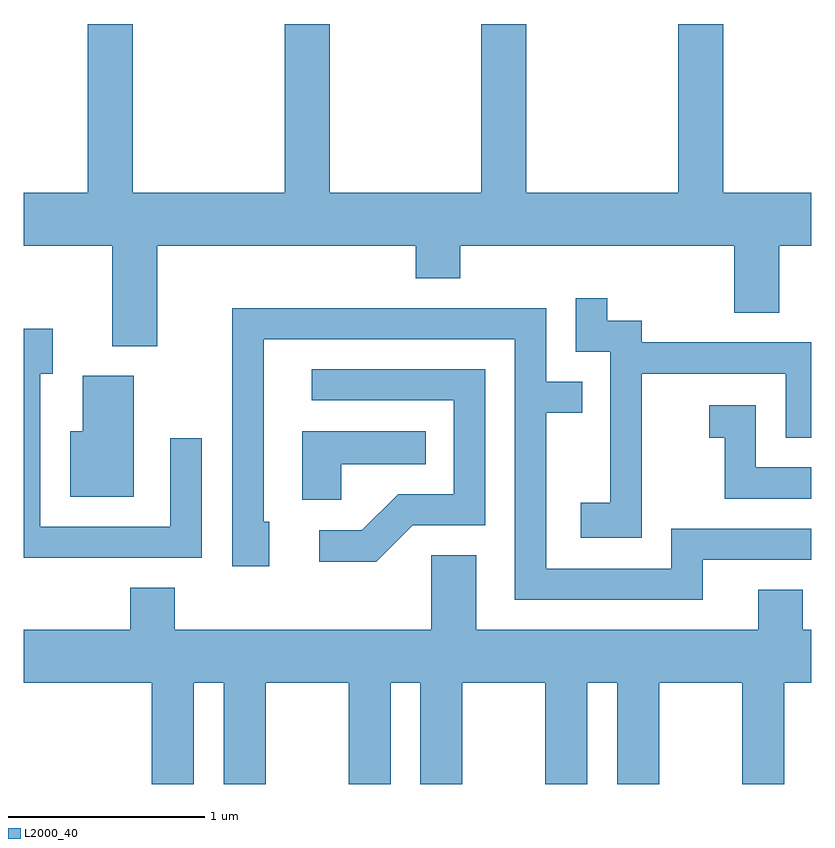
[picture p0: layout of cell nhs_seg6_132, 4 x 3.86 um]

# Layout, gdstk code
import gdstk
lib = gdstk.Library(unit=1e-6, precision=1e-09)
def P(c, l, *ps):  # polygons
    for p in ps: c.add(gdstk.Polygon(p, *l))
L2000_40 = (2000, 40)

nhs_seg6_132 = lib.new_cell('nhs_seg6_132')
P(nhs_seg6_132, L2000_40, [(188.289,1661.036),(189.601,1661.036),(189.601,1660.871),(189.829,1660.871),(189.829,1661.036),(191.221,1661.036),(191.221,1660.696),(191.449,1660.696),(191.449,1661.036),(191.611,1661.036),(191.611,1661.304),(191.164,1661.304),(191.164,1662.162),(190.936,1662.162),(190.936,1661.304),(190.164,1661.304),(190.164,1662.162),(189.936,1662.162),(189.936,1661.304),(189.164,1661.304),(189.164,1662.162),(188.936,1662.162),(188.936,1661.304),(188.164,1661.304),(188.164,1662.162),(187.936,1662.162),(187.936,1661.304),(187.611,1661.304),(187.611,1661.036),(188.061,1661.036),(188.061,1660.526),(188.289,1660.526)],
  [(190.749,1660.386),(191.481,1660.386),(191.481,1660.061),(191.611,1660.061),(191.611,1660.544),(190.749,1660.544),(190.749,1660.654),(190.574,1660.654),(190.574,1660.768),(190.416,1660.768),(190.416,1660.496),(190.591,1660.496),(190.591,1659.729),(190.441,1659.729),(190.441,1659.551),(190.749,1659.551)],
  [(191.059,1659.441),(191.611,1659.441),(191.611,1659.599),(190.901,1659.599),(190.901,1659.394),(190.264,1659.394),(190.264,1660.186),(190.448,1660.186),(190.448,1660.344),(190.264,1660.344),(190.264,1660.719),(188.671,1660.719),(188.671,1659.406),(188.859,1659.406),(188.859,1659.634),(188.829,1659.634),(188.829,1660.561),(190.106,1660.561),(190.106,1659.236),(191.059,1659.236)],
  [(188.514,1660.058),(188.356,1660.058),(188.356,1659.609),(187.694,1659.609),(187.694,1660.386),(187.759,1660.386),(187.759,1660.614),(187.611,1660.614),(187.611,1659.451),(188.514,1659.451)],
  [(189.587,1659.616),(189.954,1659.616),(189.954,1660.409),(189.073,1660.409),(189.073,1660.251),(189.796,1660.251),(189.796,1659.774),(189.514,1659.774),(189.329,1659.589),(189.113,1659.589),(189.113,1659.431),(189.402,1659.431)],
  [(188.169,1660.374),(187.911,1660.374),(187.911,1660.094),(187.846,1660.094),(187.846,1659.761),(188.169,1659.761)],
  [(191.611,1659.909),(191.329,1659.909),(191.329,1660.224),(191.093,1660.224),(191.093,1660.061),(191.171,1660.061),(191.171,1659.751),(191.611,1659.751)],
  [(189.224,1659.926),(189.653,1659.926),(189.653,1660.094),(189.026,1660.094),(189.026,1659.746),(189.224,1659.746)],
  [(188.474,1658.816),(188.626,1658.816),(188.626,1658.301),(188.839,1658.301),(188.839,1658.816),(189.261,1658.816),(189.261,1658.301),(189.474,1658.301),(189.474,1658.816),(189.626,1658.816),(189.626,1658.301),(189.839,1658.301),(189.839,1658.816),(190.261,1658.816),(190.261,1658.301),(190.474,1658.301),(190.474,1658.816),(190.626,1658.816),(190.626,1658.301),(190.839,1658.301),(190.839,1658.816),(191.261,1658.816),(191.261,1658.301),(191.474,1658.301),(191.474,1658.816),(191.611,1658.816),(191.611,1659.084),(191.569,1659.084),(191.569,1659.289),(191.341,1659.289),(191.341,1659.084),(189.909,1659.084),(189.909,1659.464),(189.681,1659.464),(189.681,1659.084),(188.379,1659.084),(188.379,1659.299),(188.151,1659.299),(188.151,1659.084),(187.611,1659.084),(187.611,1658.816),(188.261,1658.816),(188.261,1658.301),(188.474,1658.301)])

lib.write_gds('nhs_seg6_132.gds')
